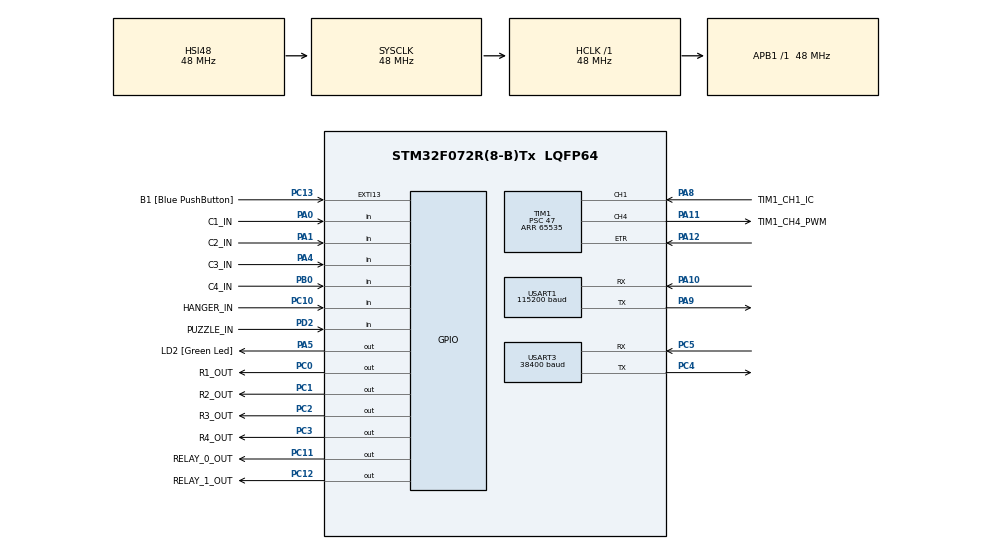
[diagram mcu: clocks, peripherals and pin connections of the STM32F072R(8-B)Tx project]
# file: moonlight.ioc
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Mcu.Family=STM32F0
Mcu.Name=STM32F072R(8-B)Tx
Mcu.Package=LQFP64
NVIC.TIM1_CC_IRQn=true\:0\:0\:false\:false\:true\:true\:true
NVIC.TIM6_DAC_IRQn=true\:0\:0\:false\:false\:true\:true\:true
NVIC.USART1_IRQn=true\:0\:0\:false\:false\:true\:true\:true
PA0.GPIO_Label=C1_IN
PA0.GPIO_PuPd=GPIO_PULLDOWN
PA0.Signal=GPIO_Input
PA1.GPIO_Label=C2_IN
PA1.GPIO_PuPd=GPIO_PULLDOWN
PA1.Signal=GPIO_Input
PA10.Mode=Asynchronous
PA10.Signal=USART1_RX
PA11.GPIO_Label=TIM1_CH4_PWM
PA11.Signal=S_TIM1_CH4
PA12.Signal=S_TIM1_ETR
PA13.GPIO_Label=TMS
PA13.Mode=Serial_Wire
PA13.Signal=SYS_SWDIO
PA14.GPIO_Label=TCK
PA14.Mode=Serial_Wire
PA14.Signal=SYS_SWCLK
PA2.GPIO_Label=USART_TX
PA2.GPIO_Mode=GPIO_MODE_AF_PP
PA2.GPIO_PuPd=GPIO_NOPULL
PA2.GPIO_Speed=GPIO_SPEED_FREQ_LOW
PA2.Signal=USART2_TX
PA3.GPIO_Label=USART_RX
PA3.GPIO_Mode=GPIO_MODE_AF_PP
PA3.GPIO_PuPd=GPIO_NOPULL
PA3.GPIO_Speed=GPIO_SPEED_FREQ_LOW
PA3.Signal=USART2_RX
PA4.GPIO_Label=C3_IN
PA4.GPIO_PuPd=GPIO_PULLDOWN
PA4.Signal=GPIO_Input
PA5.GPIO_Label=LD2 [Green Led]
PA5.GPIO_Mode=GPIO_MODE_OUTPUT_PP
PA5.GPIO_PuPd=GPIO_NOPULL
PA5.GPIO_Speed=GPIO_SPEED_FREQ_LOW
PA5.Signal=GPIO_Output
PA8.GPIO_Label=TIM1_CH1_IC
PA8.Signal=S_TIM1_CH1
PA9.Mode=Asynchronous
PA9.Signal=USART1_TX
PB0.GPIO_Label=C4_IN
PB0.GPIO_PuPd=GPIO_PULLDOWN
PB0.Signal=GPIO_Input
PC0.GPIO_Label=R1_OUT
PC0.GPIO_Speed=GPIO_SPEED_FREQ_HIGH
PC0.Signal=GPIO_Output
PC1.GPIO_Label=R2_OUT
PC1.GPIO_Speed=GPIO_SPEED_FREQ_HIGH
PC1.Signal=GPIO_Output
PC10.GPIO_Label=HANGER_IN
PC10.GPIO_PuPd=GPIO_PULLUP
PC10.Signal=GPIO_Input
PC11.GPIO_Label=RELAY_0_OUT
PC11.Signal=GPIO_Output
PC12.GPIO_Label=RELAY_1_OUT
PC12.Signal=GPIO_Output
PC13.GPIO_Label=B1 [Blue PushButton]
PC13.GPIO_ModeDefaultEXTI=GPIO_MODE_IT_FALLING
PC13.Signal=GPXTI13
PC14-OSC32_IN.Mode=LSE-External-Oscillator
PC14-OSC32_IN.Signal=RCC_OSC32_IN
PC15-OSC32_OUT.Mode=LSE-External-Oscillator
PC15-OSC32_OUT.Signal=RCC_OSC32_OUT
PC2.GPIO_Label=R3_OUT
PC2.GPIO_Speed=GPIO_SPEED_FREQ_HIGH
PC2.Signal=GPIO_Output
PC3.GPIO_Label=R4_OUT
PC3.GPIO_Speed=GPIO_SPEED_FREQ_HIGH
PC3.Signal=GPIO_Output
PC4.Mode=Asynchronous
PC4.Signal=USART3_TX
PC5.Mode=Asynchronous
PC5.Signal=USART3_RX
PD2.GPIO_Label=PUZZLE_IN
PD2.GPIO_PuPd=GPIO_PULLUP
PD2.Signal=GPIO_Input
PF0-OSC_IN.Mode=HSE-External-Clock-Source
PF0-OSC_IN.Signal=RCC_OSC_IN
PF1-OSC_OUT.Signal=RCC_OSC_OUT
ProjectManager.HeapSize=0x200
ProjectManager.StackSize=0x400
ProjectManager.TargetToolchain=Makefile
RCC.AHBFreq_Value=48000000
RCC.APB1Freq_Value=48000000
RCC.APB1TimFreq_Value=48000000
RCC.FLatency-AdvancedSettings=FLASH_LATENCY_1
RCC.HCLKFreq_Value=48000000
RCC.PLLDivider=RCC_PREDIV_DIV2
RCC.PLLMUL=RCC_PLL_MUL12
RCC.PREFETCH_ENABLE-AdvancedSettings=1
RCC.SYSCLKFreq_VALUE=48000000
RCC.SYSCLKSource=RCC_SYSCLKSOURCE_HSI48
SH.S_TIM1_CH1.0=TIM1_CH1,Input_Capture1_from_TI1
SH.S_TIM1_CH4.0=TIM1_CH4,PWM Generation4 CH4
SH.S_TIM1_ETR.0=TIM1_ETR,TriggerSource_ETR
TIM1.Channel-Input_Capture1_from_TI1=TIM_CHANNEL_1
TIM1.Channel-PWM\ Generation4\ CH4=TIM_CHANNEL_4
TIM1.OCPolarity_4=TIM_OCPOLARITY_LOW
TIM1.Period=65535
TIM1.Prescaler=47
TIM1.Pulse-PWM\ Generation4\ CH4=65535
TIM6.Period=2000-1
TIM6.Prescaler=479
USART1.BaudRate=115200
USART1.VirtualMode-Asynchronous=VM_ASYNC
USART3.BaudRate=38400
USART3.VirtualMode-Asynchronous=VM_ASYNC
VP_TIM1_VS_ClockSourceINT.Mode=Internal
VP_TIM1_VS_ControllerModeReset.Mode=Reset Mode
VP_TIM6_VS_ClockSourceINT.Mode=Enable_Timer
board=NUCLEO-F072RB

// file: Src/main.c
/* USER CODE BEGIN Header */
/**
  ******************************************************************************
  * @file           : main.c
  * @brief          : Main program body
  ******************************************************************************
  * @attention
  *
  * <h2><center>&copy; Copyright (c) 2020 STMicroelectronics.
  * All rights reserved.</center></h2>
  *
  * This software component is licensed by ST under BSD 3-Clause license,
  * the "License"; You may not use this file except in compliance with the
  * License. You may obtain a copy of the License at:
  *                        opensource.org/licenses/BSD-3-Clause
  *
  ******************************************************************************
  */
/* USER CODE END Header */

#include "main.h"
#include "tim.h"
#include "usart.h"
#include "gpio.h"

/* USER CODE BEGIN Includes */
#include <stdint.h>
/* USER CODE END Includes */

/* USER CODE BEGIN PD */
#define SIZE_OF_CHECK(type_name, type_size) \
__attribute__((unused)) typedef char type_name ## _sizeof_check[(sizeof(type_name)==type_size)*2-1];
/* USER CODE END PD */

/* USER CODE BEGIN PV */
const float g_duty_cycle_scale[] = {0.000000, 0.115996, 0.146932, 0.168969,
  0.186752, 0.201959, 0.215411, 0.227578, 0.238758, 0.249153, 0.258906,
  0.268124, 0.276889, 0.285264, 0.293301, 0.301041, 0.308518, 0.315761,
  0.322795, 0.329641, 0.336317, 0.342837, 0.349217, 0.355469, 0.361603,
  0.367629, 0.373556, 0.379392, 0.385143, 0.390818, 0.396421, 0.401958,
  0.407434, 0.412855, 0.418225, 0.423547, 0.428826, 0.434065, 0.439268,
  0.444439, 0.449580, 0.454695, 0.459787, 0.464858, 0.469911, 0.474948,
  0.479974, 0.484989, 0.489997, 0.495000, 0.500000, 0.505000, 0.510003,
  0.515011, 0.520026, 0.525052, 0.530089, 0.535142, 0.540213, 0.545305,
  0.550420, 0.555561, 0.560732, 0.565935, 0.571174, 0.576453, 0.581775,
  0.587145, 0.592566, 0.598042, 0.603579, 0.609182, 0.614857, 0.620608,
  0.626444, 0.632371, 0.638397, 0.644531, 0.650783, 0.657163, 0.663683,
  0.670359, 0.677205, 0.684239, 0.691482, 0.698959, 0.706699, 0.714736,
  0.723111, 0.731876, 0.741094, 0.750847, 0.761242, 0.772422, 0.784589,
  0.798041, 0.813248, 0.831031, 0.853068, 0.884004, 1.000000};

/* The keypad check is set at 50Hz based off a timer interrupt The debounce
   buffer will be 120ms long, so a size of 6. By having the size at 6 and the
   threshold to be a valid button press at 4, you are naturally allowing some
   buffer between changing from one key index to another. If we set the size to
   6 and the threshold to 3, we could theoretically toggle between NO_BUTTON_IDX
   and any other button index quickly. With size 6 and threshold 4, a button
   index has to drop to 2 (from 4 or more) before NO_BUTTON_IDX becomes valid
   again. To summarize, it's ideal to have the threshold greater than
   KEYPAD_DEBOUNCE_BUF_LEN/2. */
#define KEYPAD_DEBOUNCE_BUF_LEN 6
// Must find a button pressed for this many keypad check iterations
#define KEYPAD_DEBOUNCE_THRESH 4
#define KEYPAD_NUM_ROW 4
#define KEYPAD_NUM_COL 4
// Add one extra button for "no button"
#define KEYPAD_NUM_BUTTON 17  // KEYPAD_NUM_ROW * KEYPAD_NUM_COL + 1
#define NO_BUTTON_IDX 16  // KEYPAD_NUM_BUTTON-1
uint8_t g_key_deb_buf[KEYPAD_DEBOUNCE_BUF_LEN] = {NO_BUTTON_IDX},
        g_key_deb_buf_idx = 0,
        g_prev_key_idx = NO_BUTTON_IDX;

#define HANGER_DEBOUNCE_BUF_LEN 25
#define HANGER_DEBOUNCE_THRESH 10
bool g_hanger_deb_buf[HANGER_DEBOUNCE_BUF_LEN] = {true},
     g_hanger_prev_state = true;
uint8_t g_hanger_deb_buf_idx = 0;
/* USER CODE END PV */

void SystemClock_Config(void);

/* USER CODE BEGIN 0 */
void SetDimmerDutyCycle(const uint16_t duty_cycle) {
  if (duty_cycle > 100) {
    return;
  }
  const uint16_t ccr = g_zero_cross_period -
    g_zero_cross_period*g_duty_cycle_scale[duty_cycle];
  __HAL_TIM_SET_COMPARE(&htim1, TIM_CHANNEL_4, ccr);
}

/*
  R1 - Brn - Brn     - PC0
  R2 - Red - Wht/Brn - PC1
  R3 - Orn - Orn     - PC2
  R4 - Yel - Wht/Orn - PC3
  C1 - Blu - Blu     - PA0
  C2 - Gry - Wht/Blu - PA1
  C3 - Wht - Grn     - PA4
  C4 - Blk - Wht/Grn - PB0

  See KeyIndexToChar() for index to button mapping.
*/
uint8_t GetKeypadPress() {
  GPIO_TypeDef *row_gpio_port[] = {R1_OUT_GPIO_Port, R2_OUT_GPIO_Port,
                                   R3_OUT_GPIO_Port, R4_OUT_GPIO_Port};
  uint16_t row_gpio_pin[] = {R1_OUT_Pin, R2_OUT_Pin, R3_OUT_Pin, R4_OUT_Pin};
  GPIO_TypeDef *col_gpio_port[] = {C1_IN_GPIO_Port, C2_IN_GPIO_Port,
                                   C3_IN_GPIO_Port, C4_IN_GPIO_Port};
  uint16_t col_gpio_pin[] = {C1_IN_Pin, C2_IN_Pin, C3_IN_Pin, C4_IN_Pin};
  uint8_t r, i, c;
  uint8_t pressed_key_idx = NO_BUTTON_IDX;
  for (r = 0; r < KEYPAD_NUM_ROW; ++r) {
    for (i = 0; i < KEYPAD_NUM_ROW; ++i) {
      HAL_GPIO_WritePin(row_gpio_port[i], row_gpio_pin[i],
        r == i ? GPIO_PIN_SET : GPIO_PIN_RESET);
    }
    for (c = 0; c < KEYPAD_NUM_COL; ++c) {
      if (HAL_GPIO_ReadPin(col_gpio_port[c], col_gpio_pin[c]) == GPIO_PIN_SET) {
        pressed_key_idx = r*KEYPAD_NUM_COL + c;
        goto ret_key_idx;
      }
    }
  }
ret_key_idx:
  // This reset is not necessary for continuous scanning...
  if (r == 4) { r = 3; }
  HAL_GPIO_WritePin(row_gpio_port[r], row_gpio_pin[r], GPIO_PIN_RESET);
  // Save the pressed key index to the global debounce buffer
  g_key_deb_buf[g_key_deb_buf_idx] = pressed_key_idx;
  ++g_key_deb_buf_idx;
  if (g_key_deb_buf_idx >= KEYPAD_DEBOUNCE_BUF_LEN) {
    g_key_deb_buf_idx = 0;
  }
  return pressed_key_idx;
}

uint8_t GetFilteredKeypadPress() {
  uint8_t key_idx_cnt[KEYPAD_NUM_BUTTON] = {0}, i;
  // Loop through debounce buffer and make key count histogram (key_idx_cnt)
  for (i = 0; i < KEYPAD_DEBOUNCE_BUF_LEN; ++i) {
    uint8_t j = g_key_deb_buf[i];
    if (j < KEYPAD_NUM_BUTTON) {
      key_idx_cnt[j] += 1;
    }
  }
  // Find the index with the largest histogram bin
  uint8_t max_idx = NO_BUTTON_IDX,
          max_cnt_idx = 0;
  for (i = 0; i < KEYPAD_NUM_BUTTON; ++i) {
    if (key_idx_cnt[i] > max_cnt_idx) {
      max_cnt_idx = key_idx_cnt[i];
      max_idx = i;
    }
  }
  // Check that this index histogram bin count is large enough to be considered
  // a key press. Do not send the same key index twice (allow NO_BUTTON_IDX to
  // be sent in between valid key indicies).
  if (max_cnt_idx > KEYPAD_DEBOUNCE_THRESH) {
    if (max_idx != g_prev_key_idx) {
      g_prev_key_idx = max_idx;
      return max_idx;
    }
  }
  return NO_BUTTON_IDX;
}

char KeyIndexToChar(const uint8_t key_idx) {
  // This is the actual row/col arragement of the buttons (not including 'N')
  // The 'n' is "not connected"
  char keys[] = {'1', '2', '3', 'n',
                 '4', '5', '6', 'F',
                 '7', '8', '9', 'n',
                 '*', '0', '#', 'R', 'N'};
  SIZE_OF_CHECK(keys, KEYPAD_NUM_BUTTON)
  return key_idx < KEYPAD_NUM_BUTTON ? keys[key_idx] : 'N';
}

void UpdateHangerState() {
  g_hanger_deb_buf[g_hanger_deb_buf_idx] =
    HAL_GPIO_ReadPin(HANGER_IN_GPIO_Port, HANGER_IN_Pin) == GPIO_PIN_SET;
  ++g_hanger_deb_buf_idx;
  if (g_hanger_deb_buf_idx >= HANGER_DEBOUNCE_BUF_LEN) {
    g_hanger_deb_buf_idx = 0;
  }
}

bool GetFilteredHangerState() {
  int i;
  uint8_t num_true = 0;
  for (i = 0; i < HANGER_DEBOUNCE_BUF_LEN; ++i) {
    if (g_hanger_deb_buf[i]) {
      ++num_true;
    }
  }
  const uint8_t num_false = HANGER_DEBOUNCE_BUF_LEN - num_true;
  if (num_true >= HANGER_DEBOUNCE_THRESH) {
    g_hanger_prev_state = true;
  } else if (num_false >= HANGER_DEBOUNCE_THRESH) {
    g_hanger_prev_state = false;
  }
  return g_hanger_prev_state;
}
/* USER CODE END 0 */

int main(void)
{

  /* MCU Configuration--------------------------------------------------------*/

  /* Reset of all peripherals, Initializes the Flash interface and the Systick. */
  HAL_Init();

  /* Configure the system clock */
  SystemClock_Config();

  /* Initialize all configured peripherals */
  MX_GPIO_Init();
  MX_TIM1_Init();
  MX_TIM6_Init();
  MX_USART1_UART_Init();
  MX_USART3_UART_Init();
  /* USER CODE BEGIN 2 */
  HAL_TIM_Base_Start_IT(&htim6); // 50Hz interupt
  HAL_TIM_IC_Start_IT(&htim1, TIM_CHANNEL_1);  // zero cross sync pulse
  HAL_Delay(100); // wait for things to init
  SetDimmerDutyCycle(100);
  /* USER CODE END 2 */

  /* Infinite loop */
  /* USER CODE BEGIN WHILE */
  uint32_t sec_cnt = 0,
           grn_led_on_cnt = 0;
  uint8_t prev_key_idx = UINT8_MAX,
          puzzle_keys_idx = 0;
  bool prev_hanger_state = true,
       run_puzzle = false,
       puzzle_solved = false;
  const uint8_t PUZZLE_LEN = 14; // 10 digit number + 4 digit extension
  char puzzle_keys[PUZZLE_LEN];
  bool tile_puzzle_win = false;
  while (1)
  {
    if (g_tim_check_keypad) {
      // Check Tile Puzzle input
      if (HAL_GPIO_ReadPin(PUZZLE_IN_GPIO_Port, PUZZLE_IN_Pin) == GPIO_PIN_RESET) {
        if (!tile_puzzle_win) {
          tile_puzzle_win = true;
          HAL_GPIO_WritePin(RELAY_0_OUT_GPIO_Port, RELAY_0_OUT_Pin, GPIO_PIN_SET);
          HAL_Delay(5000);
          HAL_GPIO_WritePin(RELAY_0_OUT_GPIO_Port, RELAY_0_OUT_Pin, GPIO_PIN_RESET);
        }
      } else {
        tile_puzzle_win = false;
      }

      g_tim_check_keypad = false;
      GetKeypadPress();
      const uint8_t key_idx = GetFilteredKeypadPress();

      if (key_idx == 1) {
        HAL_GPIO_WritePin(LD2_GPIO_Port, LD2_Pin, GPIO_PIN_SET);
        ++grn_led_on_cnt;
      }
      if (grn_led_on_cnt > 0) {
        if (grn_led_on_cnt > 10) {
          grn_led_on_cnt = 0;
          HAL_GPIO_WritePin(LD2_GPIO_Port, LD2_Pin, GPIO_PIN_RESET);
        } else {
          ++grn_led_on_cnt;
        }
      }

      if (key_idx != prev_key_idx) {
        prev_key_idx = key_idx;
        uint8_t key_char = KeyIndexToChar(key_idx);
        HAL_UART_Transmit(&huart1, &key_char, 1, 1000);
        if (puzzle_solved && key_char == '#') {
          // Stop MP3
          uint8_t start = 'O';
          HAL_UART_Transmit(&huart3, &start, 1, 1000);
          // Turn light back on all the way
          SetDimmerDutyCycle(100);
        } else if (run_puzzle && key_char != 'N') {
          puzzle_keys[puzzle_keys_idx] = key_char;
          ++puzzle_keys_idx;
          if (puzzle_keys_idx == PUZZLE_LEN) {
                        // b    r    i    d    g    e    t
            char ans[] = {'2', '7', '4', '3', '4', '3', '8',
                        // s    a    m
                          '7', '2', '6', '3', '3', '7', '1'};
            SIZE_OF_CHECK(ans, PUZZLE_LEN)
            int i;
            for (i = 0; i < PUZZLE_LEN; ++i) {
              if (puzzle_keys[i] != ans[i]) {
                break;
              }
            }
            if (i == PUZZLE_LEN) {
              // You won!
              puzzle_solved = true;
              for (i = 0; i < 10; ++i) {
                HAL_GPIO_WritePin(LD2_GPIO_Port, LD2_Pin, GPIO_PIN_SET);
                HAL_Delay(50);
                HAL_GPIO_WritePin(LD2_GPIO_Port, LD2_Pin, GPIO_PIN_RESET);
                HAL_Delay(50);
              }
              // Start dimming
              for (i = 100; i > 50; --i) {
                SetDimmerDutyCycle(i);
                HAL_Delay(50);
              }
              // Play MP3
              uint8_t start = 'O';
              HAL_UART_Transmit(&huart3, &start, 1, 1000);
              // Continue dimming
              for (i = 50; i > 39; --i) {
                SetDimmerDutyCycle(i);
                HAL_Delay(50);
              }
              // Open Box
              HAL_Delay(3000);
              HAL_GPIO_WritePin(RELAY_1_OUT_GPIO_Port, RELAY_1_OUT_Pin, GPIO_PIN_SET);
              HAL_Delay(250);
              HAL_GPIO_WritePin(RELAY_1_OUT_GPIO_Port, RELAY_1_OUT_Pin, GPIO_PIN_RESET);
            }
            // User must apply headset to hanger to restart puzzle
            run_puzzle = false;
            puzzle_keys_idx = 0;
          }
        }
      }

      UpdateHangerState();
      const bool hanger_state = GetFilteredHangerState();
      HAL_GPIO_WritePin(LD2_GPIO_Port, LD2_Pin,
        hanger_state ? GPIO_PIN_SET : GPIO_PIN_RESET);
      if (prev_hanger_state != hanger_state) {
        prev_hanger_state = hanger_state;
        uint8_t key_char = hanger_state ? 'D' : 'U';
        HAL_UART_Transmit(&huart1, &key_char, 1, 1000);
        run_puzzle = !hanger_state;
        if (run_puzzle) {
          puzzle_keys_idx = 0;
        }
      }

      ++sec_cnt;
      if (sec_cnt == 50) {
        if (run_puzzle) {
          HAL_GPIO_WritePin(LD2_GPIO_Port, LD2_Pin, GPIO_PIN_SET);
          HAL_Delay(10);
          HAL_GPIO_WritePin(LD2_GPIO_Port, LD2_Pin, GPIO_PIN_RESET);
        }
        sec_cnt = 0;
      }
    }
    /* USER CODE END WHILE */

  }
}

void SystemClock_Config(void)
{
  RCC_OscInitTypeDef RCC_OscInitStruct = {0};
  RCC_ClkInitTypeDef RCC_ClkInitStruct = {0};
  RCC_PeriphCLKInitTypeDef PeriphClkInit = {0};

  /** Initializes the CPU, AHB and APB busses clocks
  */
  RCC_OscInitStruct.OscillatorType = RCC_OSCILLATORTYPE_HSI48;
  RCC_OscInitStruct.HSI48State = RCC_HSI48_ON;
  RCC_OscInitStruct.PLL.PLLState = RCC_PLL_NONE;
  if (HAL_RCC_OscConfig(&RCC_OscInitStruct) != HAL_OK)
  {
    Error_Handler();
  }
  /** Initializes the CPU, AHB and APB busses clocks
  */
  RCC_ClkInitStruct.ClockType = RCC_CLOCKTYPE_HCLK|RCC_CLOCKTYPE_SYSCLK
                              |RCC_CLOCKTYPE_PCLK1;
  RCC_ClkInitStruct.SYSCLKSource = RCC_SYSCLKSOURCE_HSI48;
  RCC_ClkInitStruct.AHBCLKDivider = RCC_SYSCLK_DIV1;
  RCC_ClkInitStruct.APB1CLKDivider = RCC_HCLK_DIV1;

  if (HAL_RCC_ClockConfig(&RCC_ClkInitStruct, FLASH_LATENCY_1) != HAL_OK)
  {
    Error_Handler();
  }
  PeriphClkInit.PeriphClockSelection = RCC_PERIPHCLK_USART1;
  PeriphClkInit.Usart1ClockSelection = RCC_USART1CLKSOURCE_PCLK1;
  if (HAL_RCCEx_PeriphCLKConfig(&PeriphClkInit) != HAL_OK)
  {
    Error_Handler();
  }
}

void Error_Handler(void)
{
}

/************************ (C) COPYRIGHT STMicroelectronics *****END OF FILE****/
